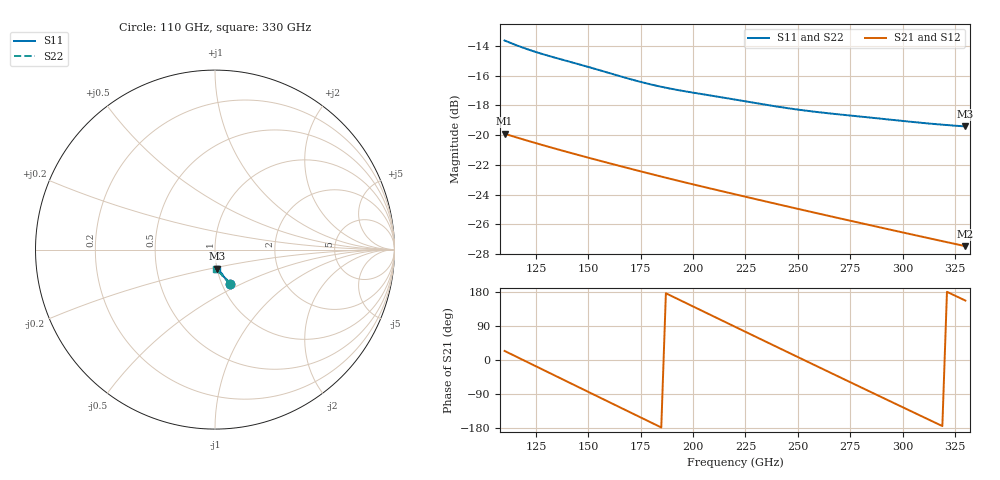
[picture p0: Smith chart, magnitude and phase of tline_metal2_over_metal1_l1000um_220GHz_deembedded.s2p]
! Created with skrf 2.2.0 (http://scikit-rf.org).
# GHz S DB R 50.0
! Port[1] = P1
! Port[2] = P2
!freq dBS11 angS11 dBS21 angS21 dBS12 angS12 dBS22 angS22
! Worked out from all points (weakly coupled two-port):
!   101 points, 110 GHz to 330 GHz, reference 50 ohm
!   highest |S21| = -19.91 dB at 110 GHz (marker M1); lowest = -27.5 dB at 330 GHz (marker M2)
!   lowest |S11| = -19.4 dB at 330 GHz (marker M3), VSWR 1.24, Z = 50.2 - j10.8 ohm
!   |S11| at or under -10 dB: start of sweep to end of sweep
!   |S22| runs from -19.4 to -13.6 dB; largest |S21 - S12| = 7.4e-14
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110  -13.64 -65.8  -19.91 23.9  -19.91 23.9  -13.56 -66.5
118.8  -14.12 -66.7  -20.29 0.1  -20.29 0.1  -14.04 -67.5
127.6  -14.53 -67.5  -20.65 -23.7  -20.65 -23.7  -14.45 -68.4
138.6  -14.97 -68.7  -21.09 -53.5  -21.09 -53.5  -14.88 -69.7
147.4  -15.32 -69.9  -21.42 -77.3  -21.42 -77.3  -15.22 -70.9
156.2  -15.67 -71.1  -21.75 -101.0  -21.75 -101.0  -15.57 -72.1
167.2  -16.13 -72.2  -22.16 -130.7  -22.16 -130.7  -16.00 -73.4
176  -16.46 -72.8  -22.48 -154.4  -22.48 -154.4  -16.32 -74.1
184.8  -16.75 -73.3  -22.79 -178.0  -22.79 -178.0  -16.60 -74.7
193.6  -16.99 -73.7  -23.10 158.4  -23.10 158.4  -16.83 -75.3
204.6  -17.26 -74.4  -23.47 128.9  -23.47 128.9  -17.08 -76.2
213.4  -17.46 -75.2  -23.76 105.4  -23.76 105.4  -17.28 -77.1
220  -17.61 -75.8  -23.98 87.7  -23.98 87.7  -17.44 -77.8
228.8  -17.82 -76.5  -24.27 64.2  -24.27 64.2  -17.65 -78.7
239.8  -18.08 -77.2  -24.63 34.9  -24.63 34.9  -17.92 -79.7
248.6  -18.26 -77.7  -24.91 11.5  -24.91 11.5  -18.11 -80.3
257.4  -18.42 -78.2  -25.20 -11.9  -25.20 -11.9  -18.28 -80.8
268.4  -18.59 -78.8  -25.55 -41.0  -25.55 -41.0  -18.46 -81.6
277.2  -18.72 -79.4  -25.83 -64.3  -25.83 -64.3  -18.60 -82.3
294.8  -18.97 -80.7  -26.38 -110.8  -26.38 -110.8  -18.89 -83.8
312.4  -19.22 -81.8  -26.93 -157.0  -26.93 -157.0  -19.19 -85.1
330  -19.42 -82.8  -27.47 156.9  -27.47 156.9  -19.45 -86.0
